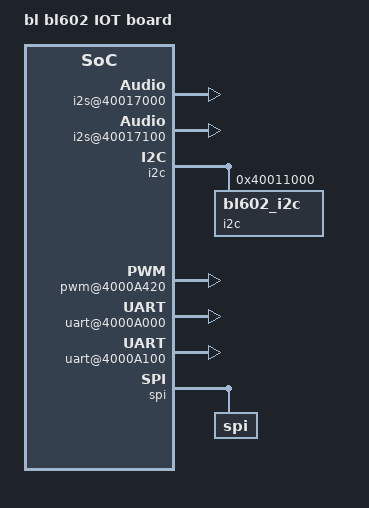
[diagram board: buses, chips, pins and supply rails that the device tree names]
/dts-v1/;
/include/ "bl602_base.dtsi";
// version: 17
// last_comp_version: 16
// boot_cpuid_phys: 0x0

/ {
    model = "bl bl602 IOT board";
    compatible = "bl,bl602-sample", "bl,bl602-common";
    #address-cells = <0x1>;
    #size-cells = <0x1>;
    gpio {
        #address-cells = <1>;
        #size-cells = <1>;
        max_num = <40>;
        gpio0 {                                  
            status = "okay";                     
            pin  = <5>;                          
            feature = "led";                     
            active = "Hi"; //Hi or Lo
            mode = "blink"; //blink or hearbeat
            time = <100>; //duration for this mode
        };
        gpio1 {                                  
            status = "disable";                     
            pin  = <6>;                          
            feature = "led";                     
            active = "Hi"; //Hi or Lo
            mode = "blink"; //blink or hearbeat
            time = <100>; //duration for this mode
        };
        gpio2 {
            status = "okay";
            pin = <2>;
            feature = "button";
            active = "Hi";
            mode = "multipress";
            button {
                debounce = <10>;
                short_press_ms {
                    start = <100>;
                    end = <3000>;
                    kevent = <2>;
                };
                long_press_ms {
                    start = <6000>;
                    end = <10000>;
                    kevent = <3>;
                };
                longlong_press_ms {
                    start = <15000>;
                    kevent = <4>;
                };
                trig_level = "Hi";
            };
            hbn_use = "disable";
        };
    };
    i2s {
        #address-cells = <1>;
        #size-cells = <1>;
        i2s@40017000 {
            status = "okay";
            compatible = "bl602_i2s";
            reg = <0x40017000 0x100>;
            mclk_only = "okay";
            pin {
                mclk = <11>;
            };
        };
        i2s@40017100 {
            status = "okay";
            compatible = "bl602_i2s";
            reg = <0x40017100 0x100>;
            mclk_only = "disable";
            pin {
                bclk = <12>;
                fs = <29>;
                do = <30>;
                di = <31>;
            };
        };
    };
    i2c {
        #address-cells = <1>;
        #size-cells = <1>;
        i2c@40011000 {
            status = "okay";
            compatible = "bl602_i2c";
            reg = <0x40011000 0x100>;
            pin {
                scl = <32>;
                sda = <13>;
            };
            devices {
                list_addr = <0x18 0x21>;
                list_driver = "i2c_es8311", "i2c_gc0308>";
            };
        };
        i2c@40011100 {
            status = "disable";
            compatible = "bl602_i2c";
            reg = <0x40011100 0x100>;
            pin {
                /*empty here*/
            };
        };
    };
    timer {
        #address-cells = <1>;
        #size-cells = <1>;
        timer@40014000 {
            status = "disable";
            compatible = "bl602_timer";
            reg = <0x40014000 0x100>;
        };
        timer@40014100 {
            status = "disable";
            compatible = "bl602_timer";
            reg = <0x40014100 0x100>;
        };
    };
    pwm {
        #address-cells = <1>;
        #size-cells = <1>;
        pwm@4000A420 {
            status = "okay";
            compatible = "bl602_pwm";
            reg = <0x4000A420 0x20>;
            path = "/dev/pwm0";
            id = <0>;
            pin = <0>;
            freq = <800000>;
            duty = <50>;
        };
        pwm@4000A440 {
            status = "disable";
            reg = <0x4000A440 0x20>;
            path = "/dev/pwm1";
            id = <1>;
            pin = <1>;
            freq = <5000>;
            duty = <50>;
        };
        pwm@4000A460 {
            status = "disable";
            reg = <0x4000A460 0x20>;
            path = "/dev/pwm2";
            id = <2>;
            pin = <2>;
            freq = <5000>;
            duty = <50>;
        };
        pwm@4000A480 {
            status = "disable";
            reg = <0x4000A480 0x20>;
            path = "/dev/pwm3";
            id = <3>;
            pin = <3>;
            freq = <5000>;
            duty = <50>;
        };
        pwm@4000A4A0 {
            status = "disable";
            reg = <0x4000A4A0 0x20>;
            path = "/dev/pwm4";
            id = <4>;
            pin = <4>;
            freq = <5000>;
            duty = <50>;
        };
    };
    ir {
        #address-cells = <1>;
        #size-cells = <1>;
        ctrltype = <0>;
        tx {
            status = "disable";
            pin = <11>;         // only support 11
            mode = "NEC";       // NEC,ExtenedNEC,RC5,SWM
            interval = <100>;   // ms
            active_mode = "Hi"; //Hi,Lo
        };
        rx {
            status = "okay";
            pin = <12>;         // only support 12 13
            mode = "NEC";       // NEC,ExtenedNEC,RC5,SWM
            active_mode = "Hi"; //Hi,Lo
            data_check = <2>;   //bit 0:check cmd, bit 1:check addr
        };
    };
    uart {
        #address-cells = <1>;
        #size-cells = <1>;
        uart@4000A000 {
            status = "okay";
            id = <0>;
            compatible = "bl602_uart";
            path = "/dev/ttyS0";
            baudrate = <2000000>;
            pin {
                rx = <7>;
                tx = <16>;
            };
            buf_size {
                rx_size = <512>;
                tx_size = <512>;
            };
            feature {
                tx = "okay";
                rx = "okay";
                cts = "disable";
                rts = "disable";
            };
        };
        uart@4000A100 {
            status = "okay";
            id = <1>;
            compatible = "bl602_uart";
            path = "/dev/ttyS1";
            baudrate = <115200>;
            pin {
                rx = <3>;
                tx = <4>;
            };
            buf_size {
                rx_size = <512>;
                tx_size = <512>;
            };
            feature {
                tx = "okay";
                rx = "okay";
                cts = "disable";
                rts = "disable";
            };
        };
    };
    spi {
        #address-cells = <1>;
        #size-cells = <1>;
        spi@4000F000 {
            status = "okay";         /* okay disable */
            mode = "master";
            reg = <0x4000F000 0x100>;   /* 4KB */
            path = "/dev/spi0";
            port = <0>;
            polar_phase = <1>;                 /* 0,1,2,3 */
            freq = <6000000>;
            pin {
                clk = <3>;
                cs = <2>;
                mosi = <1>;
                miso = <0>;
            };
            dma_cfg {
                tx_dma_ch = <2>;
                rx_dma_ch = <3>;
            };
        };
    };
    gpip {
        #address-cells = <1>;
        #size-cells = <1>;
        adc_key {
            status = "disable";
            pin = <9>;
            interrupt  = <3>;
            key_vol = <0 100 400 300 500>;
            key_pcb = "SW1", "SW2", "SW3", "SW4","SW5";
            key_event = "Usr1", "Usr2", "Start", "Up", "Down";
            key_raw = <1 2 3 4 5>;
        };
    };
    qspi {
        #address-cells = <1>;
        #size-cells = <1>;
        qspi@4000A000 {
            status = "disable";
            reg = <0x4000A000 0x1000>;/* 4KB */
        };
    };
    wifi {
        #address-cells = <1>;
        #size-cells = <1>;
        region {
            country_code = <86>;
        };
        mac {
            mode = "MBF";
            sta_mac_addr = [C8 43 57 82 73 40];
            ap_mac_addr = [C8 43 57 82 73 02];
        };
        sta {
            ssid = "yourssid";
            pwd = "yourapssword";
            auto_connect_enable = <0>;
        };
        ap {
            ssid = "bl_test_005";
            pwd = "12345678";
            ap_channel = <11>;
            auto_chan_detect = "disable";
        };
        brd_rf {
            xtal_mode = "MF";
            xtal = <36 36 0 60 60>;
            /*
            pwr_table = <   4 3 3 186
                            4 3 4 176
                            4 3 5 167
                            3 3 0 159
                            3 3 1 149
                            3 3 2 140
                            3 3 3 129
                            3 3 4 119
                            3 3 5 110
                            2 3 0 101
                            2 3 1 91
                            2 3 2 82
                            2 3 3 72
                            2 3 4 62
                            2 3 5 52
                            1 3 3 10>;
            */
            pwr_mode = "bf";//B: only use power offset in EFUSE; b: use power offset in EFUSE with incremental mode; F: only use power offset in Flash; f: use power offset in Flash with incremental mode
            pwr_table_11b = <20 20 20 18>;//1Mbps 2Mbps 5.5Mbps 11Mbps
            pwr_table_11g = <18 18 18 18 18 18 14 14>; //6Mbps 9Mbps 12Mbps 18MBps 24Mbps 36Mbps 48Mbps 54Mbps
            pwr_table_11n = <18 18 18 18 18 16 14 14>; //MCS0 MCS1 MCS2 MCS3 MCS4 MCS5 MCS6 MCS7
            pwr_offset = <10 10 10 10 10 10 10 10 10 10 10 10 10 10>;//due to the limit of current DTC, negative value is used. So we work around by adding all the poweroffset with 10. so 8 represents -2; 10 represents 0; 13 represents 3
        };
        rf_temp {
            en_tcal = <0>;
            linear_or_follow = <1>;
            Tchannels       = <2412 2427 2442 2457 2472>;
            Tchannel_os     = <180  168  163  160  157>;
            Tchannel_os_low = <199  186  170  165  160>;
            Troom_os        = <255>;
            //negative value is NOT supported. So we use '256' for 0, '255' for -1, '257' for 1,'511' for 256
        };
    };
    bluetooth {
        #address-cells = <1>;
        #size-cells = <1>;
        brd_rf {
            pwr_table_ble = <13>;  //range:0~15dbm
        };
    };
    MFD {
        vendor_name = "Bouffalo Lab";
        vendor_id = [0x0d 0x13];
        product_name = "Test Device";
        product_id = [0x01 0xf0];
        product_part_number = "Test Part Number";
        product_url = "Test Product URL";
        product_label = "Test Product Label";
        manufactoring_date = <2023 02 26>;
        hardware_version = [0x01 0x00];
        hardware_version_string = "ver_0.1";
    };
};
};
